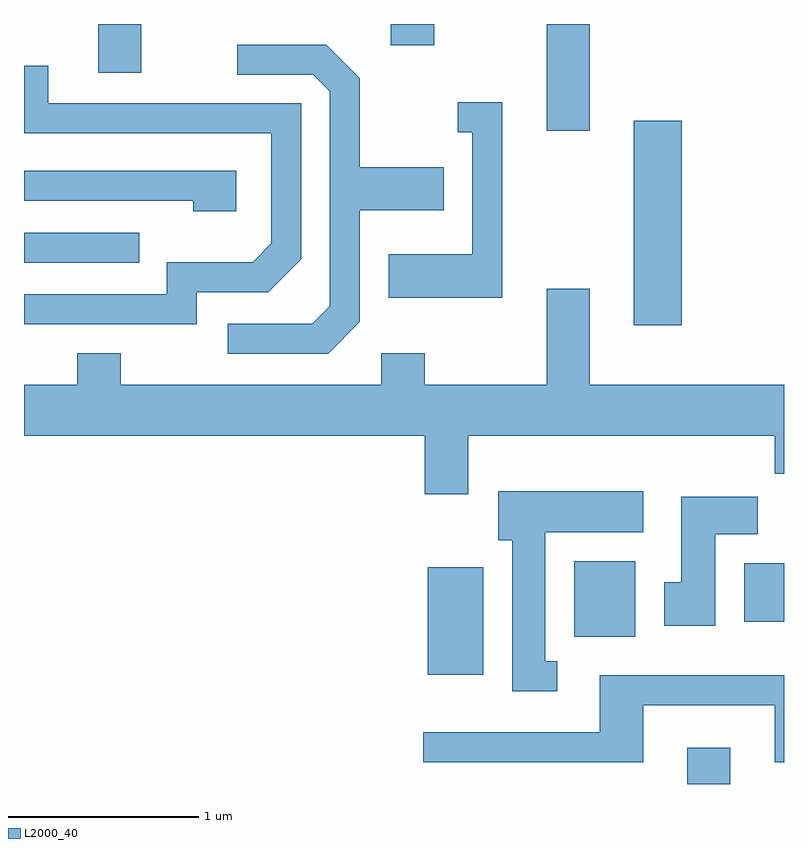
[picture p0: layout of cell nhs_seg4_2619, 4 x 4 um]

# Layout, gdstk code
import gdstk
lib = gdstk.Library(unit=1e-6, precision=1e-09)
def R(c, l, rs):  # rectangles x0, y0, x1, y1
    for r in rs: c.add(gdstk.rectangle(r[:2], r[2:], *l))
def P(c, l, *ps):  # polygons
    for p in ps: c.add(gdstk.Polygon(p, *l))
L2000_40 = (2000, 40)

nhs_seg4_2619 = lib.new_cell('nhs_seg4_2619')
R(nhs_seg4_2619, L2000_40, [(265.101,1323.982,265.329,1324.174), (263.736,1324.556,264.029,1325.124), (264.506,1324.756,264.829,1325.154), (265.401,1324.836,265.611,1325.144), (264.821,1326.396,265.074,1327.474), (261.611,1326.726,262.218,1326.884), (264.361,1327.421,264.589,1327.982), (262.001,1327.726,262.229,1327.982), (263.541,1327.871,263.769,1327.982)])
P(nhs_seg4_2619, L2000_40, [(263.379,1326.414),(263.379,1327.001),(263.819,1327.001),(263.819,1327.229),(263.379,1327.229),(263.379,1327.697),(263.202,1327.874),(262.733,1327.874),(262.733,1327.716),(263.134,1327.716),(263.221,1327.629),(263.221,1326.497),(263.129,1326.404),(262.683,1326.404),(262.683,1326.246),(263.212,1326.246)],
  [(262.519,1326.571),(262.897,1326.571),(263.069,1326.744),(263.069,1327.564),(261.739,1327.564),(261.739,1327.763),(261.611,1327.763),(261.611,1327.406),(262.911,1327.406),(262.911,1326.827),(262.814,1326.729),(262.361,1326.729),(262.361,1326.559),(261.611,1326.559),(261.611,1326.401),(262.519,1326.401)],
  [(264.129,1327.569),(263.893,1327.569),(263.893,1327.411),(263.971,1327.411),(263.971,1326.769),(263.531,1326.769),(263.531,1326.541),(264.129,1326.541)],
  [(262.729,1327.209),(261.611,1327.209),(261.611,1327.051),(262.501,1327.051),(262.501,1326.996),(262.729,1326.996)],
  [(263.949,1325.816),(265.561,1325.816),(265.561,1325.616),(265.611,1325.616),(265.611,1326.084),(264.589,1326.084),(264.589,1326.589),(264.361,1326.589),(264.361,1326.084),(263.719,1326.084),(263.719,1326.249),(263.491,1326.249),(263.491,1326.084),(262.119,1326.084),(262.119,1326.249),(261.891,1326.249),(261.891,1326.084),(261.611,1326.084),(261.611,1325.816),(263.721,1325.816),(263.721,1325.506),(263.949,1325.506)],
  [(264.418,1324.629),(264.354,1324.629),(264.354,1325.306),(264.869,1325.306),(264.869,1325.524),(264.106,1325.524),(264.106,1325.266),(264.181,1325.266),(264.181,1324.471),(264.418,1324.471)],
  [(265.249,1325.296),(265.474,1325.296),(265.474,1325.494),(265.071,1325.494),(265.071,1325.044),(264.981,1325.044),(264.981,1324.816),(265.249,1324.816)],
  [(264.869,1324.396),(265.561,1324.396),(265.561,1324.096),(265.611,1324.096),(265.611,1324.554),(264.641,1324.554),(264.641,1324.254),(263.713,1324.254),(263.713,1324.096),(264.869,1324.096)])

lib.write_gds('nhs_seg4_2619.gds')
